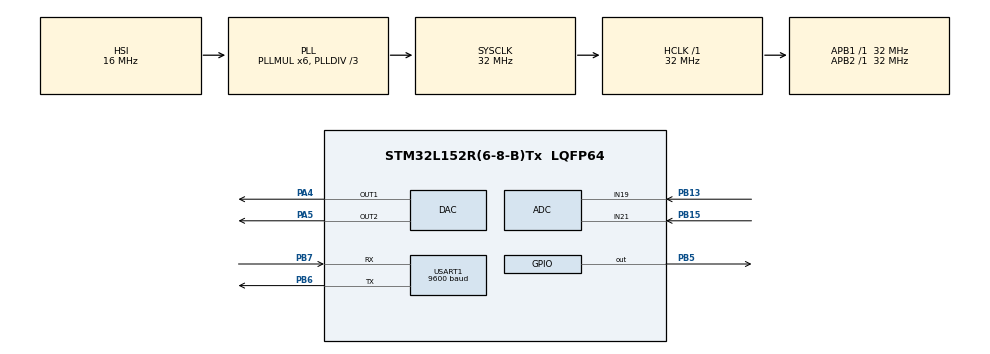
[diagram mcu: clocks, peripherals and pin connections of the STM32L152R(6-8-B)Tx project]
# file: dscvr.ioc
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ADC.Channel-35\#ChannelRegularConversion=ADC_CHANNEL_19
ADC.Channel-36\#ChannelRegularConversion=ADC_CHANNEL_21
ADC.EOCSelection=EOC_SINGLE_CONV
ADC.ExternalTrigConv=ADC_EXTERNALTRIGCONV_T3_TRGO
ADC.ExternalTrigConvEdge=ADC_EXTERNALTRIGCONVEDGE_RISING
ADC.NbrOfConversion=2
ADC.Rank-36\#ChannelRegularConversion=2
ADC.ScanConvMode=ADC_SCAN_ENABLE
DAC.DAC_OutputBuffer=DAC_OUTPUTBUFFER_DISABLE
DAC.DAC_OutputBuffer2=DAC_OUTPUTBUFFER_DISABLE
Dma.ADC.1.Direction=DMA_PERIPH_TO_MEMORY
Dma.ADC.1.Instance=DMA1_Channel1
Dma.ADC.1.MemDataAlignment=DMA_MDATAALIGN_HALFWORD
Dma.ADC.1.MemInc=DMA_MINC_ENABLE
Dma.ADC.1.Mode=DMA_CIRCULAR
Dma.ADC.1.PeriphDataAlignment=DMA_PDATAALIGN_HALFWORD
Dma.ADC.1.PeriphInc=DMA_PINC_DISABLE
Dma.ADC.1.Priority=DMA_PRIORITY_LOW
Dma.Request0=USART1_TX
Dma.Request1=ADC
Dma.USART1_TX.0.Direction=DMA_MEMORY_TO_PERIPH
Dma.USART1_TX.0.Instance=DMA1_Channel4
Dma.USART1_TX.0.MemDataAlignment=DMA_MDATAALIGN_BYTE
Dma.USART1_TX.0.MemInc=DMA_MINC_ENABLE
Dma.USART1_TX.0.Mode=DMA_NORMAL
Dma.USART1_TX.0.PeriphDataAlignment=DMA_PDATAALIGN_BYTE
Dma.USART1_TX.0.PeriphInc=DMA_PINC_DISABLE
Dma.USART1_TX.0.Priority=DMA_PRIORITY_LOW
FREERTOS.Tasks01=defaultTask,0,128,StartDefaultTask
FREERTOS.configTOTAL_HEAP_SIZE=10000
Mcu.Family=STM32L1
Mcu.Name=STM32L152R(6-8-B)Tx
Mcu.Package=LQFP64
NVIC.DMA1_Channel1_IRQn=true\:5\:0\:false
NVIC.DMA1_Channel4_IRQn=true\:5\:0\:false
NVIC.PriorityGroup=NVIC_PRIORITYGROUP_4
PA13.GPIO_Label=SWDIO
PA13.Mode=Serial-Wire
PA13.Signal=SYS_JTMS-SWDIO
PA14.GPIO_Label=SWCLK
PA14.Mode=Serial-Wire
PA14.Signal=SYS_JTCK-SWCLK
PA4.Signal=COMP_DAC1_group
PA5.Signal=COMP_DAC2_group
PB13.Mode=IN19
PB13.Signal=ADC_IN19
PB15.Mode=IN21
PB15.Signal=ADC_IN21
PB5.Signal=GPIO_Output
PB6.Mode=Asynchronous
PB6.Signal=USART1_TX
PB7.Mode=Asynchronous
PB7.Signal=USART1_RX
PC14-OSC32_IN.GPIO_Label=PC14-OSC32_IN
PC14-OSC32_IN.Mode=LSE-External-Oscillator
PC14-OSC32_IN.Signal=RCC_OSC32_IN
PC15-OSC32_OUT.GPIO_Label=PC15-OSC32_OUT
PC15-OSC32_OUT.Mode=LSE-External-Oscillator
PC15-OSC32_OUT.Signal=RCC_OSC32_OUT
ProjectManager.TargetToolchain=EWARM
RCC.AHBFreq_Value=32000000
RCC.APB1Freq_Value=32000000
RCC.APB1TimFreq_Value=32000000
RCC.APB2Freq_Value=32000000
RCC.APB2TimFreq_Value=32000000
RCC.HCLKFreq_Value=32000000
RCC.HSE_VALUE=8000000
RCC.HSI_VALUE=16000000
RCC.MSI_VALUE=2097000
RCC.PLLDIV=RCC_PLL_DIV3
RCC.PLLMUL=RCC_PLL_MUL6
RCC.RTCClockSelectionVirtual=RCC_RTCCLKSOURCE_LSE
RCC.SYSCLKFreq_VALUE=32000000
RCC.SYSCLKSource=RCC_SYSCLKSOURCE_PLLCLK
RCC.USBOutput=48000000
RCC.VCOOutputFreq_Value=96000000
SH.COMP_DAC1_group.0=DAC_OUT1,DAC_OUT1
SH.COMP_DAC2_group.0=DAC_OUT2,DAC_OUT2
TIM3.ClockDivision=TIM_CLOCKDIVISION_DIV1
TIM3.Period=100
TIM3.Prescaler=3200
TIM3.TIM_MasterOutputTrigger=TIM_TRGO_UPDATE
USART1.BaudRate=9600
VP_FREERTOS_VS_ENABLE.Mode=Enabled
VP_TIM3_VS_ClockSourceINT.Mode=Internal

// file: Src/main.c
/**
  ******************************************************************************
  * File Name          : main.c
  * Date               : 24/12/2015 18:24:46
  * Description        : Main program body
  ******************************************************************************
  *
  * COPYRIGHT(c) 2015 STMicroelectronics
  *
  * Redistribution and use in source and binary forms, with or without modification,
  * are permitted provided that the following conditions are met:
  *   1. Redistributions of source code must retain the above copyright notice,
  *      this list of conditions and the following disclaimer.
  *   2. Redistributions in binary form must reproduce the above copyright notice,
  *      this list of conditions and the following disclaimer in the documentation
  *      and/or other materials provided with the distribution.
  *   3. Neither the name of STMicroelectronics nor the names of its contributors
  *      may be used to endorse or promote products derived from this software
  *      without specific prior written permission.
  *
  * THIS SOFTWARE IS PROVIDED BY THE COPYRIGHT HOLDERS AND CONTRIBUTORS "AS IS"
  * AND ANY EXPRESS OR IMPLIED WARRANTIES, INCLUDING, BUT NOT LIMITED TO, THE
  * IMPLIED WARRANTIES OF MERCHANTABILITY AND FITNESS FOR A PARTICULAR PURPOSE ARE
  * DISCLAIMED. IN NO EVENT SHALL THE COPYRIGHT HOLDER OR CONTRIBUTORS BE LIABLE
  * FOR ANY DIRECT, INDIRECT, INCIDENTAL, SPECIAL, EXEMPLARY, OR CONSEQUENTIAL
  * DAMAGES (INCLUDING, BUT NOT LIMITED TO, PROCUREMENT OF SUBSTITUTE GOODS OR
  * SERVICES; LOSS OF USE, DATA, OR PROFITS; OR BUSINESS INTERRUPTION) HOWEVER
  * CAUSED AND ON ANY THEORY OF LIABILITY, WHETHER IN CONTRACT, STRICT LIABILITY,
  * OR TORT (INCLUDING NEGLIGENCE OR OTHERWISE) ARISING IN ANY WAY OUT OF THE USE
  * OF THIS SOFTWARE, EVEN IF ADVISED OF THE POSSIBILITY OF SUCH DAMAGE.
  *
  ******************************************************************************
  */

#include "stm32l1xx_hal.h"
// #include "cmsis_os.h"

/* USER CODE BEGIN Includes */
#include "stm32l152c_discovery.h"
#include "stm32l152c_discovery_glass_lcd.h"
#include <string.h>
#include <FreeRTOS.h>
#include <task.h>
#include <queue.h>
#include <semphr.h>
#include <median.h>

typedef struct {
  void * buf;
  size_t size;
  uint32_t nf;
} tx_buf_t;

typedef enum {
  BT_UNDEFINED = 0,
  BT_IS_PRESENT,
  BT_PAIRED
} bt_status_e;

/* USER CODE END Includes */

ADC_HandleTypeDef hadc;
DMA_HandleTypeDef hdma_adc;

DAC_HandleTypeDef hdac;

TIM_HandleTypeDef htim3;

UART_HandleTypeDef huart1;
DMA_HandleTypeDef hdma_usart1_tx;

// osThreadId defaultTaskHandle;

/* USER CODE BEGIN PV */
static TaskHandle_t xMainHandle = NULL;
static TaskHandle_t xTestHandle = NULL;
static TaskHandle_t xSensorTuneHandle = NULL;
static TaskHandle_t xUsartTXHandle = NULL;
static TaskHandle_t xUsartRXHandle = NULL;

static QueueHandle_t xUartTxQueue = NULL;
static QueueHandle_t xUartRxQueue = NULL;

#define NUM_ELEMENTS(x) (sizeof(x)/sizeof(x[0]))
#define NUM_ADC_CHANNELS 2
#define ADC_SAMPLES_PER_FRAME 1
#define ADC_DATA_BUFFER_SIZE (NUM_ADC_CHANNELS * ADC_SAMPLES_PER_FRAME * 2)
#define ADC_GATE1 0
#define ADC_GATE2 1
#define RESET_H06() HAL_GPIO_WritePin(GPIOB, GPIO_PIN_5, GPIO_PIN_RESET)
#define UNRESET_H06() HAL_GPIO_WritePin(GPIOB, GPIO_PIN_5, GPIO_PIN_SET)

static uint16_t adc_data[ADC_DATA_BUFFER_SIZE] __attribute__ ((aligned));
static u16_median_t * median[2];
static uint8_t uart_data;
static bt_status_e bt_status = BT_UNDEFINED;
/* USER CODE END PV */

void SystemClock_Config(void);
static void MX_GPIO_Init(void);
static void MX_DMA_Init(void);
static void MX_ADC_Init(void);
static void MX_DAC_Init(void);
static void MX_TIM3_Init(void);
static void MX_USART1_UART_Init(void);
// void StartDefaultTask(void const * argument);

/* USER CODE BEGIN PFP */
void vMainTask( void * pvParameters );
void vTestTask( void * pvParameters );
void vSensorTuneTask( void * pvParameters );
void vUartTxTask( void * pvParameters );
void vUartRxTask( void * pvParameters );
static void DAC_SetValue(uint32_t Channel, uint32_t Data);
/* USER CODE END PFP */

/* USER CODE BEGIN 0 */

static void start_acquire(void)
{
  HAL_ADC_Start_DMA(&hadc, (uint32_t*)adc_data, NUM_ELEMENTS(adc_data));
  HAL_TIM_Base_Start(&htim3);
}

// static void stop_acquire(void)
// {
//   HAL_TIM_Base_Stop(&htim3);
//   HAL_ADC_Stop_DMA(&hadc);
// }

void HAL_ADC_ConvCpltCallback(ADC_HandleTypeDef* hadc)
{

  // xTaskNotifyFromISR(xDSPHandle, (uint32_t)(&adc_data[NUM_ELEMENTS(adc_data)/2]),
  //   eSetValueWithOverwrite, NULL);
  // HAL_GPIO_TogglePin(GPIOB, GPIO_PIN_9);
}

void HAL_ADC_ConvHalfCpltCallback(ADC_HandleTypeDef* hadc)
{
  // xTaskNotifyFromISR(xDSPHandle, (uint32_t)(&adc_data[0]), eSetValueWithOverwrite,
  //   NULL);
}

void HAL_UART_TxCpltCallback(UART_HandleTypeDef *huart)
{
  vTaskNotifyGiveFromISR(xUsartTXHandle, NULL);
}

void HAL_UART_RxCpltCallback(UART_HandleTypeDef *huart)
{
  xQueueSendFromISR( xUartRxQueue, &uart_data, NULL);
  HAL_UART_Receive_IT(&huart1, &uart_data, 1);
}

static void DAC_SetValue(uint32_t Channel, uint32_t Data)
{
  HAL_DAC_SetValue(&hdac, Channel, DAC_ALIGN_12B_R, Data);
}

static BaseType_t send_data(const void *addr, size_t size, uint32_t nf)
{
  tx_buf_t *b = (tx_buf_t *)pvPortMalloc(sizeof(*b));

  configASSERT( b );

  b->buf = (void *)addr;
  b->size = size;
  b->nf = nf;

  return xQueueSend( xUartTxQueue, &b, ( TickType_t ) 0 );
}

/* USER CODE END 0 */

int main(void)
{

  /* MCU Configuration----------------------------------------------------------*/

  /* Reset of all peripherals, Initializes the Flash interface and the Systick. */
  HAL_Init();

  /* Configure the system clock */
  SystemClock_Config();

  /* Initialize all configured peripherals */
  MX_GPIO_Init();
  MX_DMA_Init();
  MX_ADC_Init();
  MX_DAC_Init();
  MX_TIM3_Init();
  MX_USART1_UART_Init();

  /* USER CODE BEGIN 2 */

  /* LCD GLASS Initialization */
  // BSP_LCD_GLASS_Init();
  median[0] = u16_median_init(5);
  median[1] = u16_median_init(5);

  start_acquire();

  HAL_DAC_Start(&hdac, DAC_CHANNEL_1);
  HAL_DAC_Start(&hdac, DAC_CHANNEL_2);

  DAC_SetValue(DAC_CHANNEL_1, 0);
  DAC_SetValue(DAC_CHANNEL_2, 0);

  UNRESET_H06();

  /* USER CODE END 2 */

  /* Create the thread(s) */
  /* definition and creation of defaultTask */
  // osThreadDef(defaultTask, StartDefaultTask, osPriorityNormal, 0, 128);
  // defaultTaskHandle = osThreadCreate(osThread(defaultTask), NULL);

  /* USER CODE BEGIN RTOS_THREADS */
  /* add threads, ... */
  xTaskCreate( vMainTask, "MAIN", configMINIMAL_STACK_SIZE, NULL, tskIDLE_PRIORITY, &xMainHandle );
  configASSERT( xMainHandle );
  xTaskCreate( vTestTask, "TEST", configMINIMAL_STACK_SIZE, NULL, tskIDLE_PRIORITY, &xTestHandle );
  configASSERT( xTestHandle );
  xTaskCreate( vSensorTuneTask, "TUNE", configMINIMAL_STACK_SIZE, NULL, tskIDLE_PRIORITY, &xSensorTuneHandle );
  configASSERT( xSensorTuneHandle );
  xTaskCreate( vUartTxTask, "UARTTX", configMINIMAL_STACK_SIZE, NULL, 1, &xUsartTXHandle );
  configASSERT( xUsartTXHandle );
  xTaskCreate( vUartRxTask, "UARTRX", configMINIMAL_STACK_SIZE, NULL, 2, &xUsartRXHandle );
  configASSERT( xUsartRXHandle );
  /* USER CODE END RTOS_THREADS */

  /* USER CODE BEGIN RTOS_QUEUES */
  /* add queues, ... */
  xUartTxQueue = xQueueCreate(5, sizeof(tx_buf_t *));
  configASSERT( xUartTxQueue );
  xUartRxQueue = xQueueCreate(10, sizeof(uint8_t));
  configASSERT( xUartRxQueue );
  /* USER CODE END RTOS_QUEUES */

  /* Start scheduler */
  // osKernelStart(NULL, NULL);

  /* We should never get here as control is now taken by the scheduler */

  /* Infinite loop */
  /* USER CODE BEGIN WHILE */

  HAL_UART_Receive_IT(&huart1, &uart_data, 1);

  vTaskStartScheduler();
  while (1)
  {
  /* USER CODE END WHILE */

  }

}

/** System Clock Configuration
*/
void SystemClock_Config(void)
{

  RCC_OscInitTypeDef RCC_OscInitStruct;
  RCC_ClkInitTypeDef RCC_ClkInitStruct;

  __PWR_CLK_ENABLE();

  __HAL_PWR_VOLTAGESCALING_CONFIG(PWR_REGULATOR_VOLTAGE_SCALE1);

  RCC_OscInitStruct.OscillatorType = RCC_OSCILLATORTYPE_HSI;
  RCC_OscInitStruct.HSIState = RCC_HSI_ON;
  RCC_OscInitStruct.HSICalibrationValue = 16;
  RCC_OscInitStruct.PLL.PLLState = RCC_PLL_ON;
  RCC_OscInitStruct.PLL.PLLSource = RCC_PLLSOURCE_HSI;
  RCC_OscInitStruct.PLL.PLLMUL = RCC_PLL_MUL6;
  RCC_OscInitStruct.PLL.PLLDIV = RCC_PLL_DIV3;
  HAL_RCC_OscConfig(&RCC_OscInitStruct);

  RCC_ClkInitStruct.ClockType = RCC_CLOCKTYPE_SYSCLK;
  RCC_ClkInitStruct.SYSCLKSource = RCC_SYSCLKSOURCE_PLLCLK;
  RCC_ClkInitStruct.AHBCLKDivider = RCC_SYSCLK_DIV1;
  RCC_ClkInitStruct.APB1CLKDivider = RCC_HCLK_DIV1;
  RCC_ClkInitStruct.APB2CLKDivider = RCC_HCLK_DIV1;
  HAL_RCC_ClockConfig(&RCC_ClkInitStruct, FLASH_LATENCY_1);

  __SYSCFG_CLK_ENABLE();

}

/* ADC init function */
void MX_ADC_Init(void)
{

  ADC_ChannelConfTypeDef sConfig;

    /**Configure the global features of the ADC (Clock, Resolution, Data Alignment and number of conversion)
    */
  hadc.Instance = ADC1;
  hadc.Init.ClockPrescaler = ADC_CLOCK_ASYNC_DIV1;
  hadc.Init.Resolution = ADC_RESOLUTION12b;
  hadc.Init.DataAlign = ADC_DATAALIGN_RIGHT;
  hadc.Init.ScanConvMode = ADC_SCAN_ENABLE;
  hadc.Init.EOCSelection = EOC_SINGLE_CONV;
  hadc.Init.LowPowerAutoWait = ADC_AUTOWAIT_DISABLE;
  hadc.Init.LowPowerAutoPowerOff = ADC_AUTOPOWEROFF_DISABLE;
  hadc.Init.ChannelsBank = ADC_CHANNELS_BANK_A;
  hadc.Init.ContinuousConvMode = DISABLE;
  hadc.Init.NbrOfConversion = 2;
  hadc.Init.DiscontinuousConvMode = DISABLE;
  hadc.Init.ExternalTrigConv = ADC_EXTERNALTRIGCONV_T3_TRGO;
  hadc.Init.ExternalTrigConvEdge = ADC_EXTERNALTRIGCONVEDGE_RISING;
  hadc.Init.DMAContinuousRequests = ENABLE;
  HAL_ADC_Init(&hadc);

    /**Configure for the selected ADC regular channel its corresponding rank in the sequencer and its sample time.
    */
  sConfig.Channel = ADC_CHANNEL_19;
  sConfig.Rank = 1;
  sConfig.SamplingTime = ADC_SAMPLETIME_4CYCLES;
  HAL_ADC_ConfigChannel(&hadc, &sConfig);

    /**Configure for the selected ADC regular channel its corresponding rank in the sequencer and its sample time.
    */
  sConfig.Channel = ADC_CHANNEL_21;
  sConfig.Rank = 2;
  sConfig.SamplingTime = ADC_SAMPLETIME_4CYCLES;
  HAL_ADC_ConfigChannel(&hadc, &sConfig);

}

/* DAC init function */
void MX_DAC_Init(void)
{

  DAC_ChannelConfTypeDef sConfig;

    /**DAC Initialization
    */
  hdac.Instance = DAC;
  HAL_DAC_Init(&hdac);

    /**DAC channel OUT1 config
    */
  sConfig.DAC_Trigger = DAC_TRIGGER_NONE;
  sConfig.DAC_OutputBuffer = DAC_OUTPUTBUFFER_DISABLE;
  HAL_DAC_ConfigChannel(&hdac, &sConfig, DAC_CHANNEL_1);

    /**DAC channel OUT2 config
    */
  HAL_DAC_ConfigChannel(&hdac, &sConfig, DAC_CHANNEL_2);

}

/* TIM3 init function */
void MX_TIM3_Init(void)
{

  TIM_ClockConfigTypeDef sClockSourceConfig;
  TIM_MasterConfigTypeDef sMasterConfig;

  htim3.Instance = TIM3;
  htim3.Init.Prescaler = 3200;
  htim3.Init.CounterMode = TIM_COUNTERMODE_UP;
  htim3.Init.Period = 100;
  htim3.Init.ClockDivision = TIM_CLOCKDIVISION_DIV1;
  HAL_TIM_Base_Init(&htim3);

  sClockSourceConfig.ClockSource = TIM_CLOCKSOURCE_INTERNAL;
  HAL_TIM_ConfigClockSource(&htim3, &sClockSourceConfig);

  sMasterConfig.MasterOutputTrigger = TIM_TRGO_UPDATE;
  sMasterConfig.MasterSlaveMode = TIM_MASTERSLAVEMODE_DISABLE;
  HAL_TIMEx_MasterConfigSynchronization(&htim3, &sMasterConfig);

}

/* USART1 init function */
void MX_USART1_UART_Init(void)
{

  huart1.Instance = USART1;
  huart1.Init.BaudRate = 9600;
  huart1.Init.WordLength = UART_WORDLENGTH_8B;
  huart1.Init.StopBits = UART_STOPBITS_1;
  huart1.Init.Parity = UART_PARITY_NONE;
  huart1.Init.Mode = UART_MODE_TX_RX;
  huart1.Init.HwFlowCtl = UART_HWCONTROL_NONE;
  huart1.Init.OverSampling = UART_OVERSAMPLING_16;
  HAL_UART_Init(&huart1);

}

void MX_DMA_Init(void)
{
  /* DMA controller clock enable */
  __DMA1_CLK_ENABLE();

  /* DMA interrupt init */
  HAL_NVIC_SetPriority(DMA1_Channel1_IRQn, 5, 0);
  HAL_NVIC_EnableIRQ(DMA1_Channel1_IRQn);
  HAL_NVIC_SetPriority(DMA1_Channel4_IRQn, 5, 0);
  HAL_NVIC_EnableIRQ(DMA1_Channel4_IRQn);

}

void MX_GPIO_Init(void)
{

  GPIO_InitTypeDef GPIO_InitStruct;

  /* GPIO Ports Clock Enable */
  __GPIOC_CLK_ENABLE();
  __GPIOA_CLK_ENABLE();
  __GPIOB_CLK_ENABLE();

  GPIO_InitStruct.Pin = GPIO_PIN_5;
  GPIO_InitStruct.Mode = GPIO_MODE_OUTPUT_PP;
  GPIO_InitStruct.Pull = GPIO_NOPULL;
  GPIO_InitStruct.Speed = GPIO_SPEED_HIGH;
  HAL_GPIO_Init(GPIOB, &GPIO_InitStruct);

  // /*Configure GPIO pins : PC0 PC1 PC2 PC3
  //                          PC6 PC7 PC8 PC9
  //                          PC10 PC11 */
  // GPIO_InitStruct.Pin = GPIO_PIN_0|GPIO_PIN_1|GPIO_PIN_2|GPIO_PIN_3
  //                         |GPIO_PIN_6|GPIO_PIN_7|GPIO_PIN_8|GPIO_PIN_9
  //                         |GPIO_PIN_10|GPIO_PIN_11;
  // GPIO_InitStruct.Mode = GPIO_MODE_AF_PP;
  // GPIO_InitStruct.Pull = GPIO_NOPULL;
  // GPIO_InitStruct.Speed = GPIO_SPEED_VERY_LOW;
  // GPIO_InitStruct.Alternate = GPIO_AF11_LCD;
  // HAL_GPIO_Init(GPIOC, &GPIO_InitStruct);

  // /*Configure GPIO pins : PA1 PA2 PA3 PA8
  //                          PA9 PA10 PA15 */
  // GPIO_InitStruct.Pin = GPIO_PIN_1|GPIO_PIN_2|GPIO_PIN_3|GPIO_PIN_8
  //                         |GPIO_PIN_9|GPIO_PIN_10|GPIO_PIN_15;
  // GPIO_InitStruct.Mode = GPIO_MODE_AF_PP;
  // GPIO_InitStruct.Pull = GPIO_NOPULL;
  // GPIO_InitStruct.Speed = GPIO_SPEED_VERY_LOW;
  // GPIO_InitStruct.Alternate = GPIO_AF11_LCD;
  // HAL_GPIO_Init(GPIOA, &GPIO_InitStruct);

  // /*Configure GPIO pins : PB10 PB11 PB12 PB14
  //                          PB3 PB4 PB5 PB8
  //                          PB9 */
  // GPIO_InitStruct.Pin = GPIO_PIN_10|GPIO_PIN_11|GPIO_PIN_12|GPIO_PIN_14
  //                         |GPIO_PIN_3|GPIO_PIN_4|GPIO_PIN_5|GPIO_PIN_8
  //                         |GPIO_PIN_9;
  // GPIO_InitStruct.Mode = GPIO_MODE_AF_PP;
  // GPIO_InitStruct.Pull = GPIO_NOPULL;
  // GPIO_InitStruct.Speed = GPIO_SPEED_VERY_LOW;
  // GPIO_InitStruct.Alternate = GPIO_AF11_LCD;
  // HAL_GPIO_Init(GPIOB, &GPIO_InitStruct);

}

/* USER CODE BEGIN 4 */
void vMainTask( void * pvParameters )
{
  // uint8_t str[7];
  // uint8_t cnt = 0;
  for(;;)
  {
    // snprintf((char *)str, sizeof(str)-1, "%d", cnt++);
    // BSP_LCD_GLASS_Clear();
    // BSP_LCD_GLASS_DisplayString((uint8_t *)"888888");
    vTaskDelay(pdMS_TO_TICKS(100));
  }
}

void vTestTask( void * pvParameters )
{
  // uint8_t dac = 0;

  for(;;)
  {
    // DAC_SetValue(DAC_CHANNEL_1, dac);
    // DAC_SetValue(DAC_CHANNEL_2, dac++);

    send_data("AT", strlen("AT"), 0);
    vTaskDelay(pdMS_TO_TICKS(1500));
  }
}

void vSensorTuneTask( void * pvParameters )
{
  for(;;)
  {
    vTaskDelay(pdMS_TO_TICKS(100));
  }
}

void vUartTxTask( void * pvParameters )
{
  for( ;; )
  {
    tx_buf_t * txb = NULL;
    xQueueReceive(xUartTxQueue, &txb, portMAX_DELAY);
    if(txb)
    {
      HAL_StatusTypeDef st __attribute__((unused)) =
        HAL_UART_Transmit_DMA(&huart1, txb->buf, txb->size);
      ulTaskNotifyTake(pdTRUE, portMAX_DELAY);
      if(txb->nf && txb->buf)
        vPortFree(txb->buf);
      vPortFree(txb);
    }
  }
}

void vUartRxTask( void * pvParameters )
{
  static uint8_t rx_buf[255], pos = 0;
  for( ;; )
  {
    uint8_t data;
    BaseType_t status = xQueueReceive(xUartRxQueue, &data, portMAX_DELAY /*pdMS_TO_TICKS(10)*/);

    rx_buf[pos] = data;
    if(++pos > sizeof(rx_buf)-1)
      pos = 0;
  }
}
/* USER CODE END 4 */

/* StartDefaultTask function */
// void StartDefaultTask(void const * argument)
// {

//   /* USER CODE BEGIN 5 */
//   /* Infinite loop */
//   for(;;)
//   {
//     osDelay(1);
//   }
//   /* USER CODE END 5 */
// }

/************************ (C) COPYRIGHT STMicroelectronics *****END OF FILE****/
